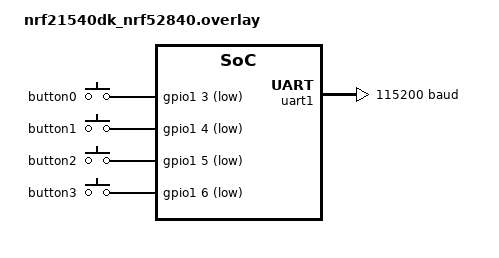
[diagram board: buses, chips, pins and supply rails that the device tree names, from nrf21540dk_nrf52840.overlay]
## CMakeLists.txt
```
# SPDX-License-Identifier: Apache-2.0

cmake_minimum_required(VERSION 3.20.0)

find_package(Zephyr REQUIRED HINTS $ENV{ZEPHYR_BASE})
project(hello_world)

target_sources(app PRIVATE src/main.c)
target_sources(app PRIVATE src/define.h)
target_sources(app PRIVATE src/task/led.c)
target_sources(app PRIVATE src/task/button_manager.c)
target_sources(app PRIVATE src/task/ble/ble.c)
target_sources(app PRIVATE src/task/monkeylist.c)
target_sources(app PRIVATE src/task/connection.c)
target_sources(app PRIVATE src/task/display_controller.c)
target_sources(app PRIVATE src/task/display.c)
target_sources(app PRIVATE src/task//ble/snes_client.c)
```

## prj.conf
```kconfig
#BLE
CONFIG_BT=y
CONFIG_BT_CENTRAL=y
CONFIG_BT_GATT_CLIENT=y
CONFIG_BT_NUS_CLIENT=y
CONFIG_BT_SCAN=y
CONFIG_BT_SCAN_FILTER_ENABLE=n
CONFIG_BT_GATT_DM=y

CONFIG_HEAP_MEM_POOL_SIZE=2048
```

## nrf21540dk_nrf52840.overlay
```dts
// To get started, press Ctrl+Space to bring up the completion menu and view the available nodes.

// You can also use the buttons in the sidebar to perform actions on nodes.
// Actions currently available include:

// * Enabling / disabling the node
// * Adding the bus to a bus
// * Removing the node
// * Connecting ADC channels

// For more help, browse the DeviceTree documentation at https://docs.zephyrproject.org/latest/guides/dts/index.html
// You can also visit the nRF DeviceTree extension documentation at https://nrfconnect.github.io/vscode-nrf-connect/devicetree/nrfdevicetree.html


&uart1 {
	status = "okay";
	current-speed = <115200>;
	pinctrl-0 = <&uart1_default>;
	pinctrl-1 = <&uart1_sleep>;
	pinctrl-names = "default", "sleep";
};

/ {
	aliases {
		displayuart = &uart1;
	};
};
///delete-node/ &{/pin-controller/uart1_sleep/group1/};

&button0 {
	gpios = <&gpio1 3 (GPIO_ACTIVE_LOW | GPIO_PULL_UP)>;
};

&button1 {
	gpios = <&gpio1 4 (GPIO_ACTIVE_LOW | GPIO_PULL_UP)>;
};

&button2 {
	gpios = <&gpio1 5 (GPIO_ACTIVE_LOW | GPIO_PULL_UP)>;
};

&button3 {
	gpios = <&gpio1 6 (GPIO_ACTIVE_LOW | GPIO_PULL_UP)>;
};
```

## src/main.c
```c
/*
 * Copyright (c) 2012-2014 Wind River Systems, Inc.
 *
 * SPDX-License-Identifier: Apache-2.0
 */

#include <zephyr/kernel.h>

#include "define.h"
#include "task/led.h"
#include "task/button_manager.h"
#include "task/ble/ble.h"
#include "task/monkeylist.h"

K_HEAP_DEFINE(monkeyListHeap,32768);

int main(void)
{
	#ifdef DEBUG_MODE
	 	printk("Programm started!\n");
	#endif

	led_thread_init();
	button_manager_init();
	ble_thread_init();
	initMonkeyList();
	Task_Display_Controller_Init();

	k_sleep( K_FOREVER );
	return 0;
}
```

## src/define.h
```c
#ifndef DEBUG_MODE
#define DEBUG_MODE
#endif
```
